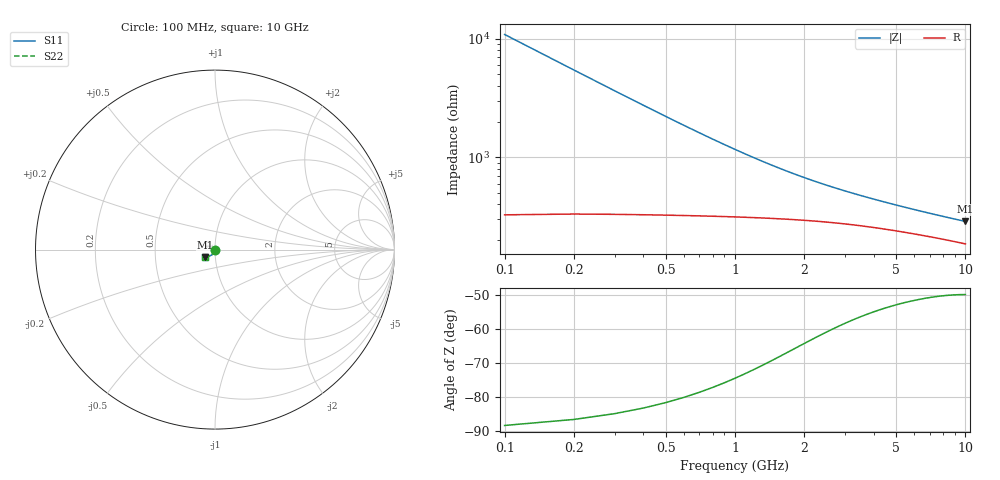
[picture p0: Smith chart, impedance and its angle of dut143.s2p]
! Touchstone file exported from HFSS 2024.1.0
!  File:  C:/UserFiles/LocalFiles/RDL_TSV_Batchsim/temp_TSV1_143_1778754723.aedt
!  Generated:  06:35:25 PM May 14, 2026
!  Design:  TSV1
!  Project:  temp_TSV1_143_1778754723
!  Setup:  Setup1
!  Solution:  Sweep
! Variables:
!  dtsv = 21um
!  hbump = 3um
!  htsv = 57.31um
!  lrdl = 252.1521522um
!  p = 40
!  p1 = 52.36um
!  t = 500um
!  trdl = 3um
!  wrdl = 24.89489489um
# GHz S MA R 50.000000
! Terminal data exported
! Port[1] = TSV22_T1
! Port[2] = TSV22_T2
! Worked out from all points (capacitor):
!   100 points, 100 MHz to 10 GHz, reference 50 ohm
!   read as one part in shunt: C = 146 fF near 100 MHz
!   lowest |Z| = 287 ohm at 10 GHz (marker M1)
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0.1  0.002067 -90.2  0.9999 -0.1  0.9999 -0.1  0.002067 -90.2
! Gamma 0 0 0 0
! Port Impedance 50 0 50 0
0.2  0.00413 -93.1  0.9996 -0.3  0.9996 -0.3  0.00413 -93.1
0.3  0.006178 -95.3  0.9993 -0.4  0.9993 -0.4  0.006178 -95.3
0.4  0.008202 -97.3  0.9988 -0.6  0.9988 -0.6  0.008202 -97.3
0.5  0.01019 -99.2  0.9981 -0.7  0.9981 -0.7  0.01019 -99.2
0.6  0.01213 -101.0  0.9974 -0.8  0.9974 -0.8  0.01213 -101.0
0.7  0.01402 -102.8  0.9966 -1.0  0.9966 -1.0  0.01402 -102.8
0.8  0.01586 -104.5  0.9957 -1.1  0.9957 -1.1  0.01586 -104.5
0.9  0.01763 -106.1  0.9948 -1.2  0.9948 -1.2  0.01763 -106.1
1.1  0.02099 -109.2  0.9928 -1.4  0.9928 -1.4  0.02099 -109.2
1.4  0.02555 -113.4  0.9896 -1.7  0.9896 -1.7  0.02555 -113.4
1.6  0.02828 -115.9  0.9875 -1.8  0.9875 -1.8  0.02828 -115.9
1.8  0.03077 -118.2  0.9853 -2.0  0.9853 -2.0  0.03077 -118.2
2.1  0.03413 -121.1  0.9823 -2.2  0.9823 -2.2  0.03413 -121.1
2.5  0.038 -124.5  0.9785 -2.4  0.9785 -2.4  0.038 -124.5
2.9  0.04133 -127.2  0.9751 -2.6  0.9751 -2.6  0.04133 -127.2
3.4  0.04492 -129.9  0.9713 -2.8  0.9713 -2.8  0.04492 -129.9
4.2  0.04973 -133.2  0.9662 -3.1  0.9662 -3.1  0.04973 -133.2
5.1  0.0542 -136.0  0.9614 -3.4  0.9614 -3.4  0.0542 -136.0
6.7  0.06053 -139.4  0.9546 -3.8  0.9546 -3.8  0.06053 -139.4
8.4  0.06573 -141.8  0.949 -4.3  0.949 -4.3  0.06573 -141.8
10  0.06967 -143.4  0.9449 -4.7  0.9449 -4.7  0.06967 -143.4
